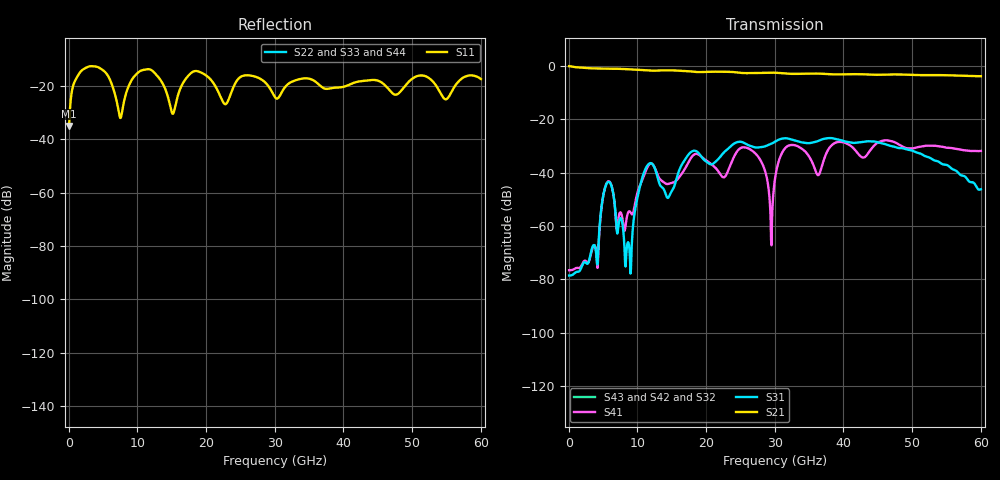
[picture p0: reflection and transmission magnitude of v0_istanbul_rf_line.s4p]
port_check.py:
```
"""Which of CST ports 3, 4 is line B's near end (z = 0.3)? Compare the line B / line A gap-voltage ratio at the two
ends of the line with |S31|, |S41| (matched 50 ohm ports: port voltage = incident + reflected wave at the port)."""
import os, sys
HERE = os.path.dirname(os.path.abspath(__file__)); sys.path.insert(0, HERE)
import numpy as np, skrf as rf
from load_fields import load
fd = load(); f = fd["f_GHz"]
n = rf.Network(os.path.join(HERE, "v0_istanbul_rf_line.s4p")); fs = n.f / 1e9
S = lambda i: np.interp(f, fs, n.s[:, i, 0].real) + 1j * np.interp(f, fs, n.s[:, i, 0].imag)
V = lambda k, i: np.array([(fd["ports"][x][1][k][0][i] - fd["ports"][x][1][k][1][i]) / 2 for x in f])
near = abs(V("B", 0) / V("A", 0)); far = abs(V("B", -1) / V("A", -1))
nearS = abs(S(2) / (1 + S(0))) ; farS = abs(S(3) / S(1))   # if port 3 near, 4 far
dB = lambda x: 20 * np.log10(x)
for lab, a, b in (("3 near, 4 far", nearS, farS), ("4 near, 3 far", abs(S(3) / (1 + S(0))), abs(S(2) / S(1)))):
    print(f"{lab}: corr(dB) near {np.corrcoef(dB(near), dB(a))[0,1]:.2f}, far {np.corrcoef(dB(far), dB(b))[0,1]:.2f}; "
          f"median offset field-S (dB) near {np.median(dB(near)-dB(a)):+.1f}, far {np.median(dB(far)-dB(b)):+.1f}")
cc = lambda x, y: abs(np.vdot(x, y)) / np.linalg.norm(x) / np.linalg.norm(y)
Vn = V("B", 0) / V("A", 0); Vf = V("B", -1) / V("A", -1)
for lab, a, b in (("3 near, 4 far", S(2) / (1 + S(0)), S(3) / S(1)), ("4 near, 3 far", S(3) / (1 + S(0)), S(2) / S(1))):
    print(f"{lab}: complex correlation near {cc(Vn, a):.3f}, far {cc(Vf, b):.3f}")
```
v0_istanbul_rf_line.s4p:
! TOUCHSTONE file generated by CST MICROWAVE STUDIO
! Date and time: Thu Nov  5 15:45:10 2026
! Project name: v0_istanbul_rf_line.cst
! Parameters = {LN_THICKNESS=0.000275; SILICON_THICKNESS=0.55}
! Header version: 2024
! Port assignment regex: !\s*Touchstone port\s*([0-9]+)\s*=\s*(CST MWS port|CST DES external port|CST DES block port)\s*(.+)\s* \(\"(.*)\"\)(\s*mode\s*([0-9]+))?.*
! Touchstone port assignment:
! Touchstone port 1 = CST MWS port 1 ("")
! Touchstone port 2 = CST MWS port 2 ("")
! Touchstone port 3 = CST MWS port 3 ("")
! Touchstone port 4 = CST MWS port 4 ("")
# GHz S MA R 50
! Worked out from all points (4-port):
!   1000 points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, 60 MHz to 60 GHz, reference 50 ohm
!   strongest paths, dB at 60 MHz, 15.06 GHz, 30.06 GHz, 45.06 GHz, 60 GHz:
!     S21: -0.1, -1.7, -2.6, -3.4, -3.9
!     S31: -78.5, -46.7, -28.4, -28.7, -46.2
!     S41: -76.5, -43.8, -41.8, -28.6, -31.9
!     S43: -, -, -, -, -
!     S42: -, -, -, -, -
!     S32: -, -, -, -, -
!   lowest |S11| = -35.0 dB at 60 MHz (marker M1), VSWR 1.04, Z = 51.4 + j1.06 ohm
!   |S11| at or under -10 dB: start of sweep to end of sweep
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0.06  0.01769 35.6  0 0.0  0 0.0  0 0.0
      0.9858 -1.8  0 0.0  0 0.0  0 0.0
      0.0001184 158.7  0 0.0  0 0.0  0 0.0
      0.0001491 -20.8  0 0.0  0 0.0  0 0.0
18.18  0.1852 0.8  0 0.0  0 0.0  0 0.0
       0.7761 -71.4  0 0.0  0 0.0  0 0.0
       0.02569 -168.8  0 0.0  0 0.0  0 0.0
       0.02146 2.2  0 0.0  0 0.0  0 0.0
60  0.1334 -44.2  0 0.0  0 0.0  0 0.0
    0.6401 35.9  0 0.0  0 0.0  0 0.0
    0.004881 131.0  0 0.0  0 0.0  0 0.0
    0.02552 -43.7  0 0.0  0 0.0  0 0.0
